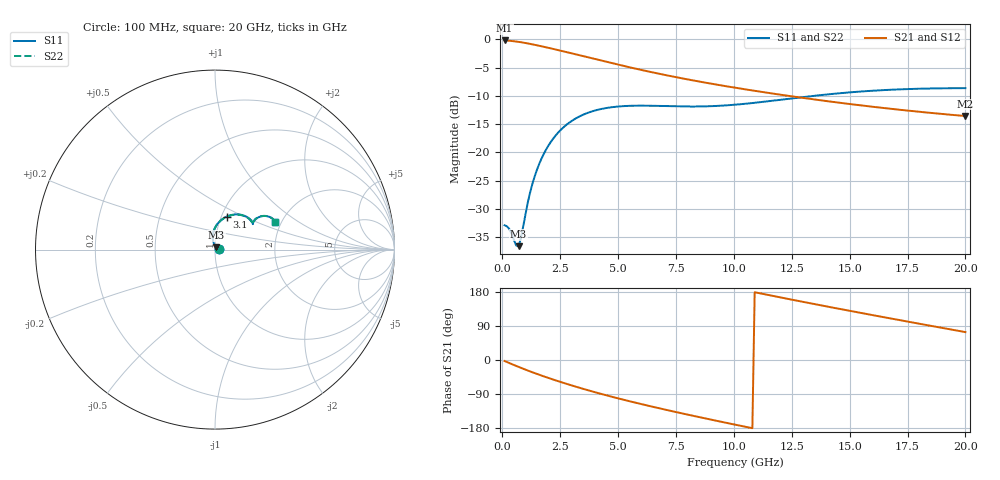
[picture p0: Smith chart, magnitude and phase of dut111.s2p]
! Touchstone file exported from HFSS 2023.1.0
!  File:  D:/Users/fzz/RDL_TSV/temp_RDL_TSV_111_1778749713.aedt
!  Generated:  5:21:05 %x4E0B%x5348  5%x6708 14, 2026
!  Design:  RDL_TSV
!  Project:  temp_RDL_TSV_111_1778749713
!  Setup:  Setup1
!  Solution:  Sweep
! Variables:
!  dtsv = 17um
!  hbump = 3um
!  htsv = 75.18um
!  ldown = 618.96um
!  lrdl = 550.2um
!  p = 40
!  p1 = 55.21um
!  rhole = 10um
!  subl = 4057.68um
!  t = 450um
!  tdown = 3.93um
!  trdl = 3.11um
!  viad = 10um
!  wdown = 15.12um
!  wrdl = 20.87um
!  xbump = 18um
# GHz S MA R 50.000000
! Terminal data exported
! Port[1] = TM1_1_T1
! Port[2] = TM1_4_T1
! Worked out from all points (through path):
!   200 points, 100 MHz to 20 GHz, reference 50 ohm
!   highest |S21| = -0.21 dB at 100 MHz (marker M1); lowest = -13.6 dB at 20 GHz (marker M2)
!   group delay of S21, straight-line fit = 37.5 ps
!   lowest |S11| = -36.6 dB at 700 MHz (marker M3), VSWR 1.03, Z = 50.8 + j1.25 ohm
!   |S11| at or under -10 dB: start of sweep to 13.46 GHz
!   |S22| runs from -36.6 to -8.7 dB; largest |S21 - S12| = 8.7e-15
!   S11 on the Smith chart (normalised r, x): 100 MHz: 1.05, +0.00; 3.1 GHz: 1.06, +0.41; 20 GHz: 1.85, +0.67
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0.1  0.02266 3.2  0.9764 -2.7  0.9764 -2.7  0.02266 3.2
! Gamma 0 0 0 0
! Port Impedance 50 0 50 0
0.3  0.02101 9.1  0.9706 -8.0  0.9706 -8.0  0.02103 9.0
0.6  0.01499 36.2  0.9555 -15.7  0.9555 -15.7  0.01504 36.0
0.7  0.0148 56.3  0.9492 -18.2  0.9492 -18.2  0.01482 55.9
0.8  0.01723 75.9  0.9423 -20.6  0.9423 -20.6  0.0172 75.4
1.2  0.04401 102.1  0.9109 -30.1  0.9109 -30.1  0.04379 101.8
1.4  0.0614 101.7  0.8936 -34.7  0.8936 -34.7  0.06108 101.5
1.7  0.08862 97.3  0.8668 -41.2  0.8668 -41.2  0.08816 97.2
2.3  0.1406 85.5  0.8126 -53.7  0.8126 -53.7  0.1398 85.3
3.1  0.1955 70.4  0.7422 -69.0  0.7422 -69.0  0.1944 70.3
3.5  0.2157 63.9  0.7087 -76.3  0.7087 -76.3  0.2143 63.8
4.3  0.2425 53.1  0.6461 -90.0  0.6461 -90.0  0.2409 53.0
5.1  0.2553 45.0  0.5903 -102.8  0.5903 -102.8  0.2533 44.9
5.9  0.2588 39.3  0.5415 -114.8  0.5415 -114.8  0.2566 39.3
6.8  0.2572 35.6  0.4942 -127.7  0.4942 -127.7  0.2549 35.5
8.3  0.2542 34.0  0.4304 -148.0  0.4304 -148.0  0.2518 34.1
10.1  0.2643 35.8  0.3717 -171.2  0.3717 -171.2  0.2622 36.0
11.8  0.2883 36.8  0.3283 167.7  0.3283 167.7  0.2866 37.1
13.4  0.3152 35.9  0.2951 148.5  0.2951 148.5  0.3138 36.2
15  0.3392 33.5  0.2676 129.8  0.2676 129.8  0.338 33.7
16.7  0.3573 30.3  0.2437 110.4  0.2437 110.4  0.3562 30.5
20  0.3698 24.8  0.2095 73.6  0.2095 73.6  0.3687 25.0
